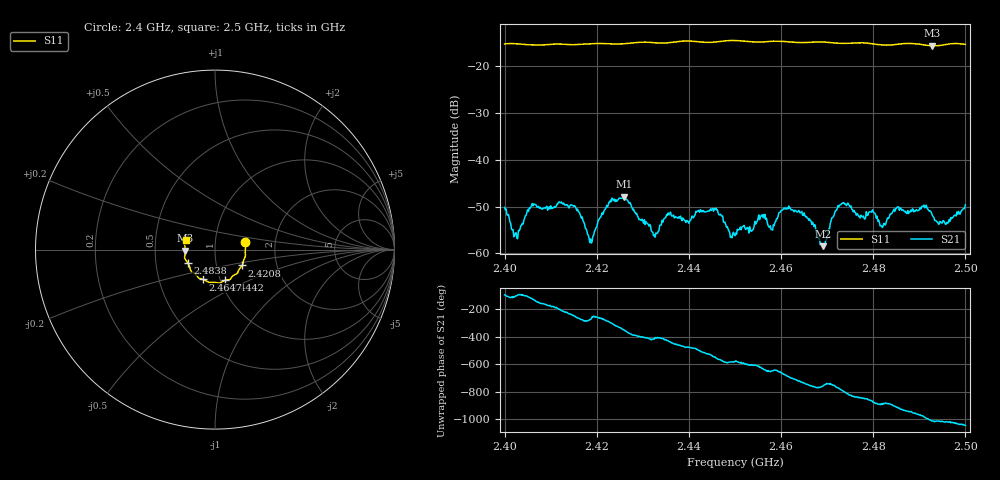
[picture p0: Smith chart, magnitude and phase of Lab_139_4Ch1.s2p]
# Hz S RI R 50
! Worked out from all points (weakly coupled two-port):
!   601 points, 2.4 GHz to 2.5 GHz, reference 50 ohm
!   highest |S21| = -47.88 dB at 2.426 GHz (marker M1); lowest = -58.5 dB at 2.4692 GHz (marker M2)
!   lowest |S11| = -15.6 dB at 2.4928 GHz (marker M3), VSWR 1.40, Z = 35.8 - j0.399 ohm
!   |S11| at or under -10 dB: start of sweep to end of sweep
!   S12 and S22 are empty: the file has one direction only
!   S11 on the Smith chart (normalised r, x): 2.4 GHz: 1.40, +0.12; 2.4208 GHz: 1.33, -0.24; 2.4442 GHz: 1.05, -0.37; 2.4647 GHz: 0.83, -0.29; 2.4838 GHz: 0.73, -0.11; 2.5 GHz: 0.72, +0.08
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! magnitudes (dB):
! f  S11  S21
! 2.4 GHz  -15.2  -50.2
! 2.4025 GHz  -15.2  -55.6
! 2.4063 GHz  -15.4  -49.4
! 2.4167 GHz  -15.3  -52.5
! 2.4187 GHz  -15.2  -56.9
! 2.4208 GHz  -15.1  -52.3
! 2.426 GHz  -15.2  -47.9
! 2.4333 GHz  -15.0  -55.3
! 2.4355 GHz  -15.0  -51.4
! 2.4442 GHz  -14.9  -51.0
! 2.45 GHz  -14.5  -56.2
! 2.458 GHz  -14.7  -54.9
! 2.4612 GHz  -14.7  -50.5
! 2.4647 GHz  -14.9  -51.9
! 2.4667 GHz  -14.8  -53.8
! 2.4692 GHz  -14.8  -58.5
! 2.4732 GHz  -15.1  -49.3
! 2.4833 GHz  -15.5  -52.6
! 2.4838 GHz  -15.4  -51.5
! 2.4928 GHz  -15.6  -51.9
! 2.4958 GHz  -15.3  -53.8
! 2.5 GHz  -15.3  -49.6
